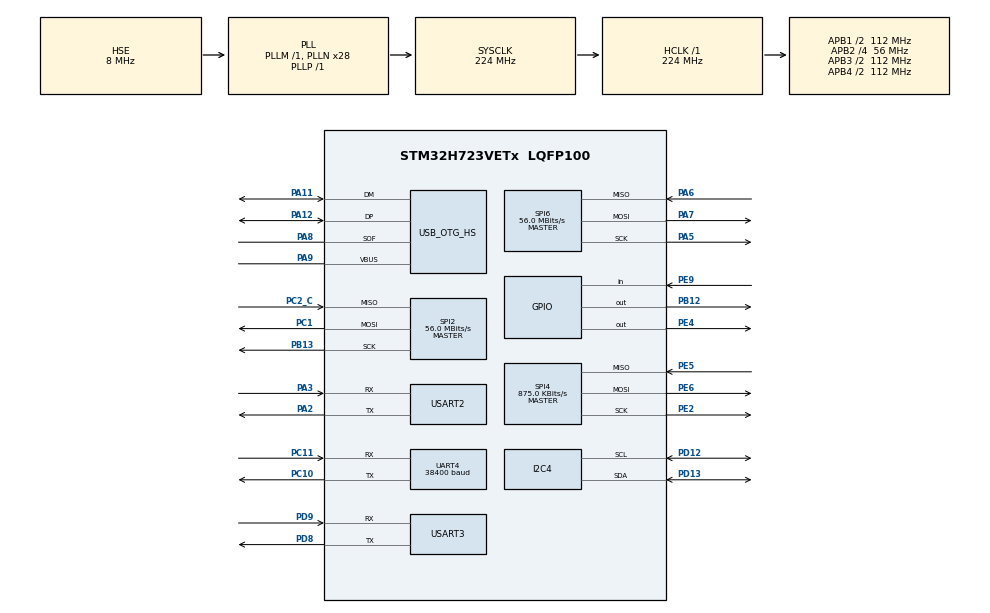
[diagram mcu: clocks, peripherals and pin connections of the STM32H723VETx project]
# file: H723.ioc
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Dma.Request0=USART3_RX
Dma.USART3_RX.0.Direction=DMA_PERIPH_TO_MEMORY
Dma.USART3_RX.0.EventEnable=DISABLE
Dma.USART3_RX.0.FIFOMode=DMA_FIFOMODE_DISABLE
Dma.USART3_RX.0.Instance=DMA1_Stream2
Dma.USART3_RX.0.MemDataAlignment=DMA_MDATAALIGN_BYTE
Dma.USART3_RX.0.MemInc=DMA_MINC_ENABLE
Dma.USART3_RX.0.Mode=DMA_CIRCULAR
Dma.USART3_RX.0.PeriphDataAlignment=DMA_PDATAALIGN_BYTE
Dma.USART3_RX.0.PeriphInc=DMA_PINC_DISABLE
Dma.USART3_RX.0.Polarity=HAL_DMAMUX_REQ_GEN_RISING
Dma.USART3_RX.0.Priority=DMA_PRIORITY_LOW
Dma.USART3_RX.0.RequestNumber=1
Dma.USART3_RX.0.SignalID=NONE
Dma.USART3_RX.0.SyncEnable=DISABLE
Dma.USART3_RX.0.SyncPolarity=HAL_DMAMUX_SYNC_NO_EVENT
Dma.USART3_RX.0.SyncRequestNumber=1
Dma.USART3_RX.0.SyncSignalID=NONE
I2C4.Timing=0x40505883
Mcu.Family=STM32H7
Mcu.Name=STM32H723VETx
Mcu.Package=LQFP100
NVIC.DMA1_Stream2_IRQn=true\:0\:0\:false\:false\:true\:false\:true\:true
NVIC.PriorityGroup=NVIC_PRIORITYGROUP_4
NVIC.UART4_IRQn=true\:0\:0\:false\:false\:true\:true\:true\:true
NVIC.USART2_IRQn=true\:0\:0\:false\:false\:true\:true\:true\:true
NVIC.USART3_IRQn=true\:0\:0\:false\:false\:true\:true\:true\:true
PA11.Mode=Device_Only_FS
PA11.Signal=USB_OTG_HS_DM
PA12.Mode=Device_Only_FS
PA12.Signal=USB_OTG_HS_DP
PA13(JTMS/SWDIO).Mode=JTAG_4_pins
PA13(JTMS/SWDIO).Signal=DEBUG_JTMS-SWDIO
PA14(JTCK/SWCLK).Mode=JTAG_4_pins
PA14(JTCK/SWCLK).Signal=DEBUG_JTCK-SWCLK
PA15(JTDI).Mode=JTAG_4_pins
PA15(JTDI).Signal=DEBUG_JTDI
PA2.Mode=Asynchronous
PA2.Signal=USART2_TX
PA3.Mode=Asynchronous
PA3.Signal=USART2_RX
PA5.Mode=Full_Duplex_Master
PA5.Signal=SPI6_SCK
PA6.Mode=Full_Duplex_Master
PA6.Signal=SPI6_MISO
PA7.Mode=Full_Duplex_Master
PA7.Signal=SPI6_MOSI
PA8.Mode=Activate_SOF_FS
PA8.Signal=USB_OTG_HS_SOF
PA9.Mode=Activate_VBUS_FS
PA9.Signal=USB_OTG_HS_VBUS
PB12.Signal=GPIO_Output
PB13.Mode=Full_Duplex_Master
PB13.Signal=SPI2_SCK
PB3(JTDO/TRACESWO).Mode=JTAG_4_pins
PB3(JTDO/TRACESWO).Signal=DEBUG_JTDO-SWO
PC1.Mode=Full_Duplex_Master
PC1.Signal=SPI2_MOSI
PC10.Mode=Asynchronous
PC10.Signal=UART4_TX
PC11.Mode=Asynchronous
PC11.Signal=UART4_RX
PC2_C.Mode=Full_Duplex_Master
PC2_C.Signal=SPI2_MISO
PD12.Mode=I2C
PD12.Signal=I2C4_SCL
PD13.Mode=I2C
PD13.Signal=I2C4_SDA
PD8.Mode=Asynchronous
PD8.Signal=USART3_TX
PD9.Mode=Asynchronous
PD9.Signal=USART3_RX
PE2.Mode=Full_Duplex_Master
PE2.Signal=SPI4_SCK
PE4.Signal=GPIO_Output
PE5.Mode=Full_Duplex_Master
PE5.Signal=SPI4_MISO
PE6.Mode=Full_Duplex_Master
PE6.Signal=SPI4_MOSI
PE9.Signal=GPIO_Input
PH0-OSC_IN.Mode=HSE-External-Oscillator
PH0-OSC_IN.Signal=RCC_OSC_IN
PH1-OSC_OUT.Mode=HSE-External-Oscillator
PH1-OSC_OUT.Signal=RCC_OSC_OUT
ProjectManager.HeapSize=0x200
ProjectManager.StackSize=0x400
ProjectManager.TargetToolchain=Makefile
RCC.ADCFreq_Value=96000000
RCC.APB1Freq_Value=112000000
RCC.APB2Freq_Value=56000000
RCC.APB3Freq_Value=112000000
RCC.APB4Freq_Value=112000000
RCC.CortexFreq_Value=224000000
RCC.D1PPRE=RCC_APB3_DIV2
RCC.D2PPRE1=RCC_APB1_DIV2
RCC.D2PPRE2=RCC_APB2_DIV4
RCC.D3PPRE=RCC_APB4_DIV2
RCC.DIVM1=1
RCC.DIVM2=1
RCC.DIVM3=1
RCC.DIVN1=28
RCC.DIVN2=24
RCC.DIVN3=24
RCC.DIVP1=1
RCC.HCLKFreq_Value=224000000
RCC.HSE_VALUE=8000000
RCC.HSIDiv=RCC_PLLSAIDIVR_2
RCC.PLL2FRACN=0
RCC.PLL3FRACN=0
RCC.PLLFRACN=0
RCC.SYSCLKFreq_VALUE=224000000
RCC.SYSCLKSource=RCC_SYSCLKSOURCE_PLLCLK
RCC.USART234578CLockSelection=RCC_USART234578CLKSOURCE_HSI
RCC.USBFreq_Value=112000000
SPI2.CalculateBaudRate=56.0 MBits/s
SPI2.Direction=SPI_DIRECTION_2LINES
SPI2.Mode=SPI_MODE_MASTER
SPI2.VirtualType=VM_MASTER
SPI4.BaudRatePrescaler=SPI_BAUDRATEPRESCALER_64
SPI4.CLKPhase=SPI_PHASE_2EDGE
SPI4.CLKPolarity=SPI_POLARITY_HIGH
SPI4.CalculateBaudRate=875.0 KBits/s
SPI4.DataSize=SPI_DATASIZE_16BIT
SPI4.Direction=SPI_DIRECTION_2LINES
SPI4.Mode=SPI_MODE_MASTER
SPI4.NSSPMode=SPI_NSS_PULSE_DISABLE
SPI4.VirtualType=VM_MASTER
SPI6.CalculateBaudRate=56.0 MBits/s
SPI6.Direction=SPI_DIRECTION_2LINES
SPI6.Mode=SPI_MODE_MASTER
SPI6.VirtualType=VM_MASTER
TIM2.Prescaler=223
UART4.BaudRate=38400
USART2.VirtualMode-Asynchronous=VM_ASYNC
USART3.VirtualMode-Asynchronous=VM_ASYNC
USB_OTG_HS.VirtualMode-Device_Only_FS=Device_Only_FS
VP_MEMORYMAP_VS_MEMORYMAP.Mode=CurAppReg
VP_TIM2_VS_ClockSourceINT.Mode=Internal
board=custom

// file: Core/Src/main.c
/* USER CODE BEGIN Header */
/**
  ******************************************************************************
  * @file           : main.c
  * @brief          : Main program body
  ******************************************************************************
  * @attention
  *
  * Copyright (c) 2024 STMicroelectronics.
  * All rights reserved.  .buffer(NOLOAD) :
  {
    . = ALIGN (1);
  } > RAM_D2
  *
  * This software is licensed under terms that can be found in the LICENSE file
  * in the root directory of this software component.
  * If no LICENSE file comes with this software, it is provided AS-IS.
  *
  ******************************************************************************
  */
/* USER CODE END Header */
#include "main.h"

/* USER CODE BEGIN Includes */
#include <string.h>
#include <stdio.h>
#include <stdarg.h>

#include "States/Idle.h"
#include "States/Ground.h"
#include "States/FastAscent.h"
#include "States/SlowAscent.h"
#include "States/FreeFall.h"
#include "Dependencies/quaternion.h"
/* USER CODE END Includes */

/* USER CODE BEGIN PD */
SerialData serial_data;
Sensors sensors;
GroundExtKalmanFilter gekf;
ExtKalmanFilter fekf;
rocket_attitude rocket_atd;
uint8_t signal_received[2];
float32_t launch_time_stamp;
uint8_t launched;
/* USER CODE END PD */

TIM_HandleTypeDef htim2;

void SystemClock_Config(void);
static void MX_GPIO_Init(void);
static void MX_DMA_Init(void);
static void MX_I2C4_Init(void);
static void MX_SPI2_Init(void);
static void MX_SPI4_Init(void);
static void MX_SPI6_Init(void);
static void MX_USART2_UART_Init(void);
static void MX_USB_OTG_HS_PCD_Init(void);
static void MX_USART3_UART_Init(void);
static void MX_UART4_Init(void);
static void MX_TIM2_Init(void);

/* USER CODE BEGIN PFP */

int16_t quantize(double x) {
	if (x + DBL_EPSILON >= 32767) { return 32767; }
	if (x - DBL_EPSILON < -32767) { return -32768;}
	else return (int16_t)x;
}

void write_to_packet(int16_t* packet, quaternion_t* orientation, double accel_x, double w_x, double w_y, double w_z) {
	packet[0] = quantize(orientation->w * 32767);
	packet[1] = quantize(orientation->x * 32767);
	packet[2] = quantize(orientation->y * 32767);
	packet[3] = quantize(orientation->z * 32767);

	// TODO: currently supports max acceleration of +-100m/s^2, resolution is 0.003m/s^2
	packet[4] = quantize(accel_x * 327.67);

	// TODO: currently supports max angular velocity of +-25 rad/s^2, resolution is 0.0008rad/sec
	packet[5] = quantize(w_x * 1310.68);
	packet[6] = quantize(w_y * 1310.68);
	packet[7] = quantize(w_z * 1310.68);
}

/* USER CODE END PFP */

int main(void)
{

  /* MCU Configuration--------------------------------------------------------*/

  /* Reset of all peripherals, Initializes the Flash interface and the Systick. */
  HAL_Init();

  /* Configure the system clock */
  SystemClock_Config();

  /* Initialize all configured peripherals */
  MX_GPIO_Init();
  MX_DMA_Init();
  MX_I2C4_Init();
  MX_SPI2_Init();
  MX_SPI4_Init();
  MX_SPI6_Init();
  MX_USART2_UART_Init();
  MX_USB_OTG_HS_PCD_Init();
  MX_USART3_UART_Init();
  MX_UART4_Init();
  MX_TIM2_Init();
  /* USER CODE BEGIN 2 */
  HAL_TIM_Base_Start(&htim2);
  DWT_Init();
  sensors_init(&sensors);
  state_machine_init();
	char debug[256];
	HAL_Delay(100);

	// Wait to recieve a bit over uart to signal activation
	while (HAL_UART_Receive(&huart2, debug, 1, HAL_MAX_DELAY) != HAL_OK);

  /* USER CODE END 2 */

  /* Infinite loop */
  /* USER CODE BEGIN WHILE */
	// Initialize variables
	int counter = 0;   //!< Debug counter for number of readings so far
	quaternion_t orientation = IDENTITY_QUAT; //!< Current rocket orientation

	// Reset the microsecond counter to 0 (used for delta-time calculations)
	__HAL_TIM_SET_COUNTER(&htim2, 0);
	int last_timer_val = 0;

  while (1) {
		// 3ms period (~333Hz)
		HAL_Delay(3);

		// Update sensors
    if (update_sensors(&sensors)) {
			continue; // IMU read failed, try again
		}

		// Calculate time since last update
		int dt_tick = __HAL_TIM_GET_COUNTER(&htim2) - last_timer_val;
    last_timer_val += dt_tick;
 		double dt_sec = ((double)dt_tick) / 1000000.0;

		// Update dead reckoning
		double w_x = DEG2RAD(sensors.gyro_x + 0.07945997);
		double w_y = DEG2RAD(sensors.gyro_y - 0.25380069);
		double w_z = DEG2RAD(sensors.gyro_z + 0.13673413);
        double wt_x = w_x * (dt_sec / 2);
		double wt_y = w_y * (dt_sec / 2);
		double wt_z = w_z * (dt_sec / 2);
		//quaternion_t delta_quat = to_delta_quaternion(w_x, w_y, w_z, dt_sec);
		//orientation = multiply(&orientation, &delta_quat);

		double a = orientation.w + -wt_x*orientation.x - wt_y*orientation.y - wt_z*orientation.z;
		double b = wt_x*orientation.w + orientation.x + wt_z*orientation.y - wt_y*orientation.z;
		double c = wt_y*orientation.w - wt_z*orientation.x + orientation.y + wt_x*orientation.z;
		double d = wt_z*orientation.w - wt_y*orientation.x + -wt_x*orientation.y + orientation.z;
		orientation.w = a;
		orientation.x = b;
		orientation.y = c;
		orientation.z = d;
		normalize_inplace(&orientation);

		counter++;

		// Forward data to MainMCU
		int16_t master_packet[8];
		write_to_packet(master_packet, &orientation, sensors.accel_x, w_x, w_y, w_z);
		HAL_UART_Transmit(&huart2, (uint8_t*) master_packet, 16, HAL_MAX_DELAY);
    /* USER CODE END WHILE */

  }
}

void SystemClock_Config(void)
{
  RCC_OscInitTypeDef RCC_OscInitStruct = {0};
  RCC_ClkInitTypeDef RCC_ClkInitStruct = {0};

  /** Supply configuration update enable
  */
  HAL_PWREx_ConfigSupply(PWR_LDO_SUPPLY);

  /** Configure the main internal regulator output voltage
  */
  __HAL_PWR_VOLTAGESCALING_CONFIG(PWR_REGULATOR_VOLTAGE_SCALE0);

  while(!__HAL_PWR_GET_FLAG(PWR_FLAG_VOSRDY)) {}

  /** Initializes the RCC Oscillators according to the specified parameters
  * in the RCC_OscInitTypeDef structure.
  */
  RCC_OscInitStruct.OscillatorType = RCC_OSCILLATORTYPE_HSI|RCC_OSCILLATORTYPE_HSE;
  RCC_OscInitStruct.HSEState = RCC_HSE_ON;
  RCC_OscInitStruct.HSIState = RCC_HSI_DIV2;
  RCC_OscInitStruct.HSICalibrationValue = 64;
  RCC_OscInitStruct.PLL.PLLState = RCC_PLL_ON;
  RCC_OscInitStruct.PLL.PLLSource = RCC_PLLSOURCE_HSE;
  RCC_OscInitStruct.PLL.PLLM = 1;
  RCC_OscInitStruct.PLL.PLLN = 28;
  RCC_OscInitStruct.PLL.PLLP = 1;
  RCC_OscInitStruct.PLL.PLLQ = 2;
  RCC_OscInitStruct.PLL.PLLR = 2;
  RCC_OscInitStruct.PLL.PLLRGE = RCC_PLL1VCIRANGE_3;
  RCC_OscInitStruct.PLL.PLLVCOSEL = RCC_PLL1VCOWIDE;
  RCC_OscInitStruct.PLL.PLLFRACN = 0;
  if (HAL_RCC_OscConfig(&RCC_OscInitStruct) != HAL_OK)
  {
    Error_Handler();
  }

  /** Initializes the CPU, AHB and APB buses clocks
  */
  RCC_ClkInitStruct.ClockType = RCC_CLOCKTYPE_HCLK|RCC_CLOCKTYPE_SYSCLK
                              |RCC_CLOCKTYPE_PCLK1|RCC_CLOCKTYPE_PCLK2
                              |RCC_CLOCKTYPE_D3PCLK1|RCC_CLOCKTYPE_D1PCLK1;
  RCC_ClkInitStruct.SYSCLKSource = RCC_SYSCLKSOURCE_PLLCLK;
  RCC_ClkInitStruct.SYSCLKDivider = RCC_SYSCLK_DIV1;
  RCC_ClkInitStruct.AHBCLKDivider = RCC_HCLK_DIV1;
  RCC_ClkInitStruct.APB3CLKDivider = RCC_APB3_DIV2;
  RCC_ClkInitStruct.APB1CLKDivider = RCC_APB1_DIV2;
  RCC_ClkInitStruct.APB2CLKDivider = RCC_APB2_DIV4;
  RCC_ClkInitStruct.APB4CLKDivider = RCC_APB4_DIV2;

  if (HAL_RCC_ClockConfig(&RCC_ClkInitStruct, FLASH_LATENCY_3) != HAL_OK)
  {
    Error_Handler();
  }
}

static void MX_I2C4_Init(void)
{

  hi2c4.Instance = I2C4;
  hi2c4.Init.Timing = 0x40505883;
  hi2c4.Init.OwnAddress1 = 0;
  hi2c4.Init.AddressingMode = I2C_ADDRESSINGMODE_7BIT;
  hi2c4.Init.DualAddressMode = I2C_DUALADDRESS_DISABLE;
  hi2c4.Init.OwnAddress2 = 0;
  hi2c4.Init.OwnAddress2Masks = I2C_OA2_NOMASK;
  hi2c4.Init.GeneralCallMode = I2C_GENERALCALL_DISABLE;
  hi2c4.Init.NoStretchMode = I2C_NOSTRETCH_DISABLE;
  if (HAL_I2C_Init(&hi2c4) != HAL_OK)
  {
    Error_Handler();
  }

  /** Configure Analogue filter
  */
  if (HAL_I2CEx_ConfigAnalogFilter(&hi2c4, I2C_ANALOGFILTER_ENABLE) != HAL_OK)
  {
    Error_Handler();
  }

  /** Configure Digital filter
  */
  if (HAL_I2CEx_ConfigDigitalFilter(&hi2c4, 0) != HAL_OK)
  {
    Error_Handler();
  }

}

static void MX_SPI2_Init(void)
{

  /* SPI2 parameter configuration*/
  hspi2.Instance = SPI2;
  hspi2.Init.Mode = SPI_MODE_MASTER;
  hspi2.Init.Direction = SPI_DIRECTION_2LINES;
  hspi2.Init.DataSize = SPI_DATASIZE_4BIT;
  hspi2.Init.CLKPolarity = SPI_POLARITY_LOW;
  hspi2.Init.CLKPhase = SPI_PHASE_1EDGE;
  hspi2.Init.NSS = SPI_NSS_SOFT;
  hspi2.Init.BaudRatePrescaler = SPI_BAUDRATEPRESCALER_2;
  hspi2.Init.FirstBit = SPI_FIRSTBIT_MSB;
  hspi2.Init.TIMode = SPI_TIMODE_DISABLE;
  hspi2.Init.CRCCalculation = SPI_CRCCALCULATION_DISABLE;
  hspi2.Init.CRCPolynomial = 0x0;
  hspi2.Init.NSSPMode = SPI_NSS_PULSE_ENABLE;
  hspi2.Init.NSSPolarity = SPI_NSS_POLARITY_LOW;
  hspi2.Init.FifoThreshold = SPI_FIFO_THRESHOLD_01DATA;
  hspi2.Init.TxCRCInitializationPattern = SPI_CRC_INITIALIZATION_ALL_ZERO_PATTERN;
  hspi2.Init.RxCRCInitializationPattern = SPI_CRC_INITIALIZATION_ALL_ZERO_PATTERN;
  hspi2.Init.MasterSSIdleness = SPI_MASTER_SS_IDLENESS_00CYCLE;
  hspi2.Init.MasterInterDataIdleness = SPI_MASTER_INTERDATA_IDLENESS_00CYCLE;
  hspi2.Init.MasterReceiverAutoSusp = SPI_MASTER_RX_AUTOSUSP_DISABLE;
  hspi2.Init.MasterKeepIOState = SPI_MASTER_KEEP_IO_STATE_DISABLE;
  hspi2.Init.IOSwap = SPI_IO_SWAP_DISABLE;
  if (HAL_SPI_Init(&hspi2) != HAL_OK)
  {
    Error_Handler();
  }

}

static void MX_SPI4_Init(void)
{

  /* SPI4 parameter configuration*/
  hspi4.Instance = SPI4;
  hspi4.Init.Mode = SPI_MODE_MASTER;
  hspi4.Init.Direction = SPI_DIRECTION_2LINES;
  hspi4.Init.DataSize = SPI_DATASIZE_8BIT;
  hspi4.Init.CLKPolarity = SPI_POLARITY_HIGH;
  hspi4.Init.CLKPhase = SPI_PHASE_2EDGE;
  hspi4.Init.NSS = SPI_NSS_SOFT;
  hspi4.Init.BaudRatePrescaler = SPI_BAUDRATEPRESCALER_64;
  hspi4.Init.FirstBit = SPI_FIRSTBIT_MSB;
  hspi4.Init.TIMode = SPI_TIMODE_DISABLE;
  hspi4.Init.CRCCalculation = SPI_CRCCALCULATION_DISABLE;
  hspi4.Init.CRCPolynomial = 0x0;
  hspi4.Init.NSSPMode = SPI_NSS_PULSE_DISABLE;
  hspi4.Init.NSSPolarity = SPI_NSS_POLARITY_LOW;
  hspi4.Init.FifoThreshold = SPI_FIFO_THRESHOLD_01DATA;
  hspi4.Init.TxCRCInitializationPattern = SPI_CRC_INITIALIZATION_ALL_ZERO_PATTERN;
  hspi4.Init.RxCRCInitializationPattern = SPI_CRC_INITIALIZATION_ALL_ZERO_PATTERN;
  hspi4.Init.MasterSSIdleness = SPI_MASTER_SS_IDLENESS_00CYCLE;
  hspi4.Init.MasterInterDataIdleness = SPI_MASTER_INTERDATA_IDLENESS_00CYCLE;
  hspi4.Init.MasterReceiverAutoSusp = SPI_MASTER_RX_AUTOSUSP_DISABLE;
  hspi4.Init.MasterKeepIOState = SPI_MASTER_KEEP_IO_STATE_DISABLE;
  hspi4.Init.IOSwap = SPI_IO_SWAP_DISABLE;
  if (HAL_SPI_Init(&hspi4) != HAL_OK)
  {
    Error_Handler();
  }

}

static void MX_SPI6_Init(void)
{

  /* SPI6 parameter configuration*/
  hspi6.Instance = SPI6;
  hspi6.Init.Mode = SPI_MODE_MASTER;
  hspi6.Init.Direction = SPI_DIRECTION_2LINES;
  hspi6.Init.DataSize = SPI_DATASIZE_8BIT;
  hspi6.Init.CLKPolarity = SPI_POLARITY_LOW;
  hspi6.Init.CLKPhase = SPI_PHASE_1EDGE;
  hspi6.Init.NSS = SPI_NSS_SOFT;
  hspi6.Init.BaudRatePrescaler = SPI_BAUDRATEPRESCALER_8;
  hspi6.Init.FirstBit = SPI_FIRSTBIT_MSB;
  hspi6.Init.TIMode = SPI_TIMODE_DISABLE;
  hspi6.Init.CRCCalculation = SPI_CRCCALCULATION_DISABLE;
  hspi6.Init.CRCPolynomial = 0x0;
  hspi6.Init.NSSPMode = SPI_NSS_PULSE_DISABLE;
  hspi6.Init.NSSPolarity = SPI_NSS_POLARITY_LOW;
  hspi6.Init.FifoThreshold = SPI_FIFO_THRESHOLD_01DATA;
  hspi6.Init.TxCRCInitializationPattern = SPI_CRC_INITIALIZATION_ALL_ZERO_PATTERN;
  hspi6.Init.RxCRCInitializationPattern = SPI_CRC_INITIALIZATION_ALL_ZERO_PATTERN;
  hspi6.Init.MasterSSIdleness = SPI_MASTER_SS_IDLENESS_00CYCLE;
  hspi6.Init.MasterInterDataIdleness = SPI_MASTER_INTERDATA_IDLENESS_00CYCLE;
  hspi6.Init.MasterReceiverAutoSusp = SPI_MASTER_RX_AUTOSUSP_DISABLE;
  hspi6.Init.MasterKeepIOState = SPI_MASTER_KEEP_IO_STATE_DISABLE;
  hspi6.Init.IOSwap = SPI_IO_SWAP_DISABLE;
  if (HAL_SPI_Init(&hspi6) != HAL_OK)
  {
    Error_Handler();
  }

}

static void MX_TIM2_Init(void)
{

  TIM_ClockConfigTypeDef sClockSourceConfig = {0};
  TIM_MasterConfigTypeDef sMasterConfig = {0};

  htim2.Instance = TIM2;
  htim2.Init.Prescaler = 223;
  htim2.Init.CounterMode = TIM_COUNTERMODE_UP;
  htim2.Init.Period = 4294967295;
  htim2.Init.ClockDivision = TIM_CLOCKDIVISION_DIV1;
  htim2.Init.AutoReloadPreload = TIM_AUTORELOAD_PRELOAD_DISABLE;
  if (HAL_TIM_Base_Init(&htim2) != HAL_OK)
  {
    Error_Handler();
  }
  sClockSourceConfig.ClockSource = TIM_CLOCKSOURCE_INTERNAL;
  if (HAL_TIM_ConfigClockSource(&htim2, &sClockSourceConfig) != HAL_OK)
  {
    Error_Handler();
  }
  sMasterConfig.MasterOutputTrigger = TIM_TRGO_RESET;
  sMasterConfig.MasterSlaveMode = TIM_MASTERSLAVEMODE_DISABLE;
  if (HAL_TIMEx_MasterConfigSynchronization(&htim2, &sMasterConfig) != HAL_OK)
  {
    Error_Handler();
  }

}

static void MX_UART4_Init(void)
{

  huart4.Instance = UART4;
  huart4.Init.BaudRate = 38400;
  huart4.Init.WordLength = UART_WORDLENGTH_8B;
  huart4.Init.StopBits = UART_STOPBITS_1;
  huart4.Init.Parity = UART_PARITY_NONE;
  huart4.Init.Mode = UART_MODE_TX_RX;
  huart4.Init.HwFlowCtl = UART_HWCONTROL_NONE;
  huart4.Init.OverSampling = UART_OVERSAMPLING_16;
  huart4.Init.OneBitSampling = UART_ONE_BIT_SAMPLE_DISABLE;
  huart4.Init.ClockPrescaler = UART_PRESCALER_DIV1;
  huart4.AdvancedInit.AdvFeatureInit = UART_ADVFEATURE_NO_INIT;
  if (HAL_UART_Init(&huart4) != HAL_OK)
  {
    Error_Handler();
  }
  if (HAL_UARTEx_SetTxFifoThreshold(&huart4, UART_TXFIFO_THRESHOLD_1_8) != HAL_OK)
  {
    Error_Handler();
  }
  if (HAL_UARTEx_SetRxFifoThreshold(&huart4, UART_RXFIFO_THRESHOLD_1_8) != HAL_OK)
  {
    Error_Handler();
  }
  if (HAL_UARTEx_DisableFifoMode(&huart4) != HAL_OK)
  {
    Error_Handler();
  }

}

static void MX_USART2_UART_Init(void)
{

  /* USER CODE BEGIN USART2_Init 0 */
  __HAL_RCC_USART2_CLK_ENABLE();
  /* USER CODE END USART2_Init 0 */

  huart2.Instance = USART2;
  huart2.Init.BaudRate = 115200;
  huart2.Init.WordLength = UART_WORDLENGTH_8B;
  huart2.Init.StopBits = UART_STOPBITS_1;
  huart2.Init.Parity = UART_PARITY_NONE;
  huart2.Init.Mode = UART_MODE_TX_RX;
  huart2.Init.HwFlowCtl = UART_HWCONTROL_NONE;
  huart2.Init.OverSampling = UART_OVERSAMPLING_16;
  huart2.Init.OneBitSampling = UART_ONE_BIT_SAMPLE_DISABLE;
  huart2.Init.ClockPrescaler = UART_PRESCALER_DIV1;
  huart2.AdvancedInit.AdvFeatureInit = UART_ADVFEATURE_NO_INIT;
  if (HAL_UART_Init(&huart2) != HAL_OK)
  {
    Error_Handler();
  }
  if (HAL_UARTEx_SetTxFifoThreshold(&huart2, UART_TXFIFO_THRESHOLD_1_8) != HAL_OK)
  {
    Error_Handler();
  }
  if (HAL_UARTEx_SetRxFifoThreshold(&huart2, UART_RXFIFO_THRESHOLD_1_8) != HAL_OK)
  {
    Error_Handler();
  }
  if (HAL_UARTEx_DisableFifoMode(&huart2) != HAL_OK)
  {
    Error_Handler();
  }

}

static void MX_USART3_UART_Init(void)
{

  huart3.Instance = USART3;
  huart3.Init.BaudRate = 115200;
  huart3.Init.WordLength = UART_WORDLENGTH_8B;
  huart3.Init.StopBits = UART_STOPBITS_1;
  huart3.Init.Parity = UART_PARITY_NONE;
  huart3.Init.Mode = UART_MODE_TX_RX;
  huart3.Init.HwFlowCtl = UART_HWCONTROL_NONE;
  huart3.Init.OverSampling = UART_OVERSAMPLING_16;
  huart3.Init.OneBitSampling = UART_ONE_BIT_SAMPLE_DISABLE;
  huart3.Init.ClockPrescaler = UART_PRESCALER_DIV1;
  huart3.AdvancedInit.AdvFeatureInit = UART_ADVFEATURE_NO_INIT;
  if (HAL_UART_Init(&huart3) != HAL_OK)
  {
    Error_Handler();
  }
  if (HAL_UARTEx_SetTxFifoThreshold(&huart3, UART_TXFIFO_THRESHOLD_1_8) != HAL_OK)
  {
    Error_Handler();
  }
  if (HAL_UARTEx_SetRxFifoThreshold(&huart3, UART_RXFIFO_THRESHOLD_1_8) != HAL_OK)
  {
    Error_Handler();
  }
  if (HAL_UARTEx_DisableFifoMode(&huart3) != HAL_OK)
  {
    Error_Handler();
  }

}

static void MX_USB_OTG_HS_PCD_Init(void)
{

  hpcd_USB_OTG_HS.Instance = USB_OTG_HS;
  hpcd_USB_OTG_HS.Init.dev_endpoints = 9;
  hpcd_USB_OTG_HS.Init.speed = PCD_SPEED_FULL;
  hpcd_USB_OTG_HS.Init.dma_enable = DISABLE;
  hpcd_USB_OTG_HS.Init.phy_itface = USB_OTG_EMBEDDED_PHY;
  hpcd_USB_OTG_HS.Init.Sof_enable = ENABLE;
  hpcd_USB_OTG_HS.Init.low_power_enable = DISABLE;
  hpcd_USB_OTG_HS.Init.lpm_enable = DISABLE;
  hpcd_USB_OTG_HS.Init.vbus_sensing_enable = ENABLE;
  hpcd_USB_OTG_HS.Init.use_dedicated_ep1 = DISABLE;
  hpcd_USB_OTG_HS.Init.use_external_vbus = DISABLE;
  if (HAL_PCD_Init(&hpcd_USB_OTG_HS) != HAL_OK)
  {
    Error_Handler();
  }

}

static void MX_DMA_Init(void)
{

  /* DMA controller clock enable */
  __HAL_RCC_DMA1_CLK_ENABLE();

  /* DMA interrupt init */
  /* DMA1_Stream2_IRQn interrupt configuration */
  HAL_NVIC_SetPriority(DMA1_Stream2_IRQn, 0, 0);
  HAL_NVIC_EnableIRQ(DMA1_Stream2_IRQn);

}

static void MX_GPIO_Init(void)
{
  GPIO_InitTypeDef GPIO_InitStruct = {0};

  /* GPIO Ports Clock Enable */
  __HAL_RCC_GPIOE_CLK_ENABLE();
  __HAL_RCC_GPIOH_CLK_ENABLE();
  __HAL_RCC_GPIOC_CLK_ENABLE();
  __HAL_RCC_GPIOA_CLK_ENABLE();
  __HAL_RCC_GPIOB_CLK_ENABLE();
  __HAL_RCC_GPIOD_CLK_ENABLE();

  /*Configure GPIO pin Output Level */
  HAL_GPIO_WritePin(GPIOE, GPIO_PIN_4, GPIO_PIN_RESET);

  /*Configure GPIO pin Output Level */
  HAL_GPIO_WritePin(GPIOB, GPIO_PIN_12, GPIO_PIN_RESET);

  /*Configure GPIO pin : PE4 */
  GPIO_InitStruct.Pin = GPIO_PIN_4;
  GPIO_InitStruct.Mode = GPIO_MODE_OUTPUT_PP;
  GPIO_InitStruct.Pull = GPIO_NOPULL;
  GPIO_InitStruct.Speed = GPIO_SPEED_FREQ_LOW;
  HAL_GPIO_Init(GPIOE, &GPIO_InitStruct);

  /*Configure GPIO pin : PE9 */
  GPIO_InitStruct.Pin = GPIO_PIN_9;
  GPIO_InitStruct.Mode = GPIO_MODE_INPUT;
  GPIO_InitStruct.Pull = GPIO_NOPULL;
  HAL_GPIO_Init(GPIOE, &GPIO_InitStruct);

  /*Configure GPIO pin : PB12 */
  GPIO_InitStruct.Pin = GPIO_PIN_12;
  GPIO_InitStruct.Mode = GPIO_MODE_OUTPUT_PP;
  GPIO_InitStruct.Pull = GPIO_NOPULL;
  GPIO_InitStruct.Speed = GPIO_SPEED_FREQ_LOW;
  HAL_GPIO_Init(GPIOB, &GPIO_InitStruct);

}

/* USER CODE BEGIN 4 */
void HAL_UARTEx_RxEventCallback(UART_HandleTypeDef *huart, uint16_t Size) {
    char debug[128];
    int len;

    if (huart->Instance == UART4) {
        len = sprintf(debug, "UART Interrupt: Size=%d, Data: ", Size);
        //HAL_UART_Transmit(&huart3, (uint8_t*)debug, len, HAL_MAX_DELAY);
        for(int i = 0; i < Size && i < 8; i++) {
            len = sprintf(debug, "%02X ", uart4_rx_dma_buffer[i]);
            //HAL_UART_Transmit(&huart3, (uint8_t*)debug, len, HAL_MAX_DELAY);
        }
        if (Size >= 4 && uart4_rx_dma_buffer[0] == 0xB5 && uart4_rx_dma_buffer[1] == 0x62) {
            len = sprintf(debug, "\r\nUBX Message - Class: 0x%02X, ID: 0x%02X\r\n",
                         uart4_rx_dma_buffer[2], uart4_rx_dma_buffer[3]);
            //HAL_UART_Transmit(&huart3, (uint8_t*)debug, len, HAL_MAX_DELAY);
        } else {
            len = sprintf(debug, "\r\nNot a UBX message\r\n");
            //HAL_UART_Transmit(&huart3, (uint8_t*)debug, len, HAL_MAX_DELAY);
        }
        ring_buffer_write(&uart4_rx_rb, uart4_rx_dma_buffer, Size);
        memset(uart4_rx_dma_buffer, 0, sizeof(uart4_rx_dma_buffer));
        if(HAL_UARTEx_ReceiveToIdle_IT(&huart4, uart4_rx_dma_buffer, sizeof(uart4_rx_dma_buffer)) != HAL_OK) {
            len = sprintf(debug, "Failed to restart UART\r\n");
            HAL_UART_Transmit(&huart3, (uint8_t*)debug, len, HAL_MAX_DELAY);
            HAL_UART_DeInit(&huart4);
            HAL_UART_Init(&huart4);
            HAL_UARTEx_ReceiveToIdle_IT(&huart4, uart4_rx_dma_buffer, sizeof(uart4_rx_dma_buffer));
        }
    }

}

void HAL_UART_RxCpltCallback(UART_HandleTypeDef *huart) {
  if (huart->Instance == USART2) {
    char buffer[6];
    sprintf(buffer, "%02X\r\n", signal_received[0]);
    HAL_UART_Transmit(&huart3, buffer, strlen(buffer), HAL_MAX_DELAY);
    if (strncmp(signal_received, "GO", 2) == 0) {
        HAL_UART_Transmit(&huart3, "\r\nStarting EKF...\r\n", sizeof("\r\nStarting EKF...\r\n") - 1, HAL_MAX_DELAY);
        state_machine = GROUND;
        ready_message_printed = 0;
    }
  }
}

void HAL_UART_ErrorCallback(UART_HandleTypeDef *huart) {
    char debug[128];
    int len;
    if (huart->Instance == UART4) {
        len = sprintf(debug, "UART4 Error 0x%lX\r\n", huart->ErrorCode);
        HAL_UART_Transmit(&huart3, (uint8_t*)debug, len, HAL_MAX_DELAY);
        HAL_UART_AbortReceive(&huart4);
        HAL_UARTEx_ReceiveToIdle_IT(&huart4, uart4_rx_dma_buffer, sizeof(uart4_rx_dma_buffer));
    }
}

void print_rocket_attitude(rocket_attitude *rocket_atd, UART_HandleTypeDef *huart) {
    char buf[200];
    // Print quaternion
    snprintf(buf, sizeof(buf), "Quaternion (s,x,y,z): %.3f, %.3f, %.3f, %.3f\r\n",
             rocket_atd->q_current_s,
             rocket_atd->q_current_x,
             rocket_atd->q_current_y,
             rocket_atd->q_current_z);
    HAL_UART_Transmit(huart, (uint8_t*)buf, strlen(buf), HAL_MAX_DELAY);
    snprintf(buf, sizeof(buf), "Euler (phi,theta,psi): %.2f, %.2f, %.2f\r\n",
             rocket_atd->phi,
             rocket_atd->theta,
             rocket_atd->psi);
    HAL_UART_Transmit(huart, (uint8_t*)buf, strlen(buf), HAL_MAX_DELAY);
    snprintf(buf, sizeof(buf), "Gyro (x,y,z): %.2f, %.2f, %.2f\r\n",
             rocket_atd->gyro_x,
             rocket_atd->gyro_y,
             rocket_atd->gyro_z);
    HAL_UART_Transmit(huart, (uint8_t*)buf, strlen(buf), HAL_MAX_DELAY);
}
/* USER CODE END 4 */

void Error_Handler(void)
{
  __disable_irq();
  while (1)
  {
  }
}
